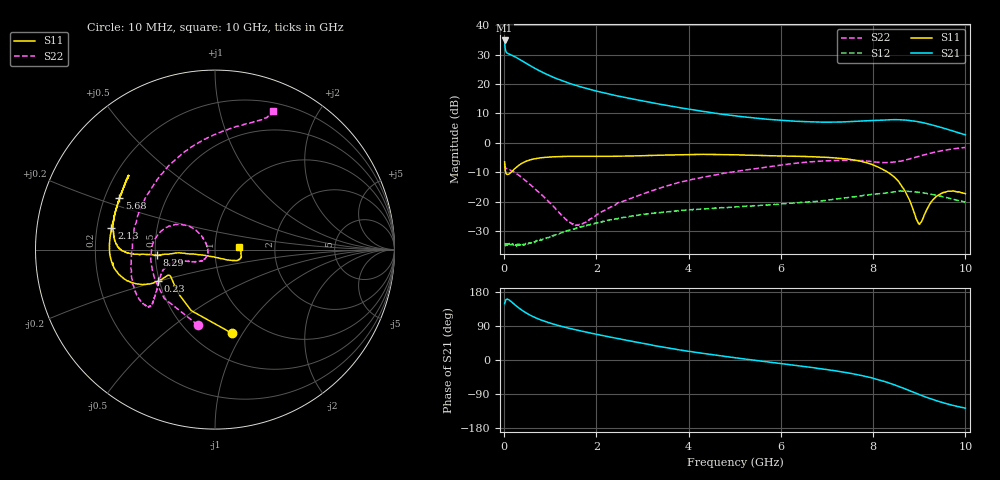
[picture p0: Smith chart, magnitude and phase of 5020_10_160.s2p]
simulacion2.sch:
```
<Qucs Schematic 0.0.15>
<Properties>
  <View=-70,80,1461,745,1,185,0>
  <Grid=10,10,1>
  <DataSet=simulacion2.dat>
  <DataDisplay=simulacion2.dpl>
  <OpenDisplay=1>
  <showFrame=0>
  <FrameText0=T\x00EDtulo>
  <FrameText1=Dibujado por:>
  <FrameText2=Fecha:>
  <FrameText3=Revisi\x00F3n:>
</Properties>
<Symbol>
  <.ID -20 -16 SUB>
  <Line -20 20 40 0 #000080 2 1>
  <Line 20 20 0 -40 #000080 2 1>
  <Line -20 -20 40 0 #000080 2 1>
  <Line -20 20 0 -40 #000080 2 1>
</Symbol>
<Components>
  <Pac P1 1 210 300 18 -26 0 1 "1" 1 "50 Ohm" 1 "0 dBm" 0 "1 GHz" 0 "26.85" 0>
  <GND * 1 210 330 0 0 0 0>
  <GND * 1 640 280 0 0 0 0>
  <SPfile X1 1 640 250 -26 -65 0 0 "C:/Users/gonza/Documents/GitHub/ICRcode/Torreta/pcb/GRF5020_SPARS/5020_10_160.s2p" 1 "rectangular" 0 "linear" 0 "open" 0 "2" 0>
  <L L1 1 580 250 -26 10 0 0 "0.878336nH" 1 "" 0>
  <C C1 1 510 320 17 -26 0 1 "2.71065pF" 1 "" 0 "neutral" 0>
  <GND * 1 510 350 0 0 0 0>
  <SUBST Subst1 1 460 480 -30 24 0 0 "4.5" 1 "0.2 mm" 1 "35 um" 1 "2e-4" 1 "0.022e-6" 1 "0.15e-6" 1>
  <L L2 1 800 250 -26 10 0 0 "1.85925nH" 1 "" 0>
  <L L3 1 720 310 17 -26 0 1 "67.7638nH" 1 "" 0>
  <.SP SP1 1 660 550 0 65 0 0 "lin" 1 "2 GHz" 1 "2.5 GHz" 1 "10000" 1 "no" 0 "1" 0 "2" 0 "no" 0 "no" 0>
  <GND * 1 780 380 0 0 0 0>
  <GND * 1 780 460 0 0 0 0>
  <Pac P2 1 1330 280 18 -26 0 1 "2" 1 "50 Ohm" 1 "0 dBm" 0 "1 GHz" 0 "26.85" 0>
  <GND * 1 1330 310 0 0 0 0>
  <C C2 1 750 380 -26 17 0 0 "10 pF" 1 "" 0 "neutral" 0>
  <C C3 1 750 460 -26 17 0 0 "0.1 uF" 1 "" 0 "neutral" 0>
  <C C4 1 1040 250 -26 17 0 0 "18 pF" 1 "" 0 "neutral" 0>
  <MLIN MS1 1 390 250 -26 15 0 0 "Subst1" 1 "0.34mm" 1 "10 mm" 1 "Hammerstad" 0 "Kirschning" 0 "26.85" 0>
  <MLIN MS2 1 950 250 -26 15 0 0 "Subst1" 1 "0.34mm" 1 "5 mm" 1 "Hammerstad" 0 "Kirschning" 0 "26.85" 0>
  <MLIN MS3 1 1100 250 -26 15 0 0 "Subst1" 1 "0.3mm" 1 "5 mm" 1 "Hammerstad" 0 "Kirschning" 0 "26.85" 0>
</Components>
<Wires>
  <510 250 550 250 "" 0 0 0 "">
  <510 250 510 290 "" 0 0 0 "">
  <720 250 720 280 "" 0 0 0 "">
  <720 250 770 250 "" 0 0 0 "">
  <670 250 720 250 "" 0 0 0 "">
  <420 250 510 250 "" 0 0 0 "">
  <210 250 210 270 "" 0 0 0 "">
  <210 250 360 250 "" 0 0 0 "">
  <830 250 920 250 "" 0 0 0 "">
  <720 340 720 380 "" 0 0 0 "">
  <1130 250 1330 250 "" 0 0 0 "">
  <720 380 720 460 "" 0 0 0 "">
  <980 250 1010 250 "" 0 0 0 "">
</Wires>
<Diagrams>
</Diagrams>
<Paintings>
  <Text 820 230 12 #000000 0 "Port 2">
</Paintings>
```
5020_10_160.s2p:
# Hz S  dB  R 50
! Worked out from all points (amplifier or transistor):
!   1000 points, 10 MHz to 10 GHz, reference 50 ohm
!   highest |S21| = 34.8 dB at 10 MHz (marker M1)
!   |S21| within 3 dB of that: start of sweep to 26.26 MHz
!   unconditionally stable (mu >= 1): 60.19 MHz to end of sweep
!   at 1.67 GHz: K = 1.15, MAG = 21.4 dB, |S12| = -28.5 dB
!   at 5.01 GHz: K = 1.11, MAG = 13.5 dB, |S12| = -21.8 dB
!   at 10 GHz: K = 1.11, MAG = 9.4 dB, |S12| = -20.2 dB
!   S11 on the Smith chart (normalised r, x): 10 MHz: 0.75, -0.89; 230 MHz: 0.49, -0.20; 2.13 GHz: 0.26, +0.10; 5.68 GHz: 0.26, +0.24; 8.29 GHz: 0.51, -0.03; 10 GHz: 1.31, +0.04
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1e7  -6.49 -78.8  34.79 148.4  -34.26 38.3  -7.31 -102.8
8e7  -10.76 -149.8  30.37 160.2  -34.51 7.9  -8.99 -177.4
2.3e8  -8.81 -151.0  29.30 146.1  -34.52 6.8  -10.10 159.4
5.3e8  -5.98 -158.7  26.54 120.4  -34.14 21.6  -13.75 139.5
8.6e8  -5.00 -167.7  23.74 102.8  -32.72 34.0  -18.37 134.0
1.35e9  -4.64 -177.6  20.56 85.5  -30.14 40.1  -26.25 156.7
2.13e9  -4.60 168.3  17.10 64.6  -26.80 39.6  -23.30 -139.0
5.01e9  -4.08 142.7  9.16 5.8  -21.84 9.6  -9.79 -156.5
5.68e9  -4.36 151.5  8.04 -4.5  -21.25 3.7  -8.29 -146.6
8.29e9  -9.74 -174.7  7.77 -58.3  -17.06 -36.9  -6.74 169.8
1e10  -17.33 6.6  2.71 -127.1  -20.18 -100.0  -1.56 67.1
